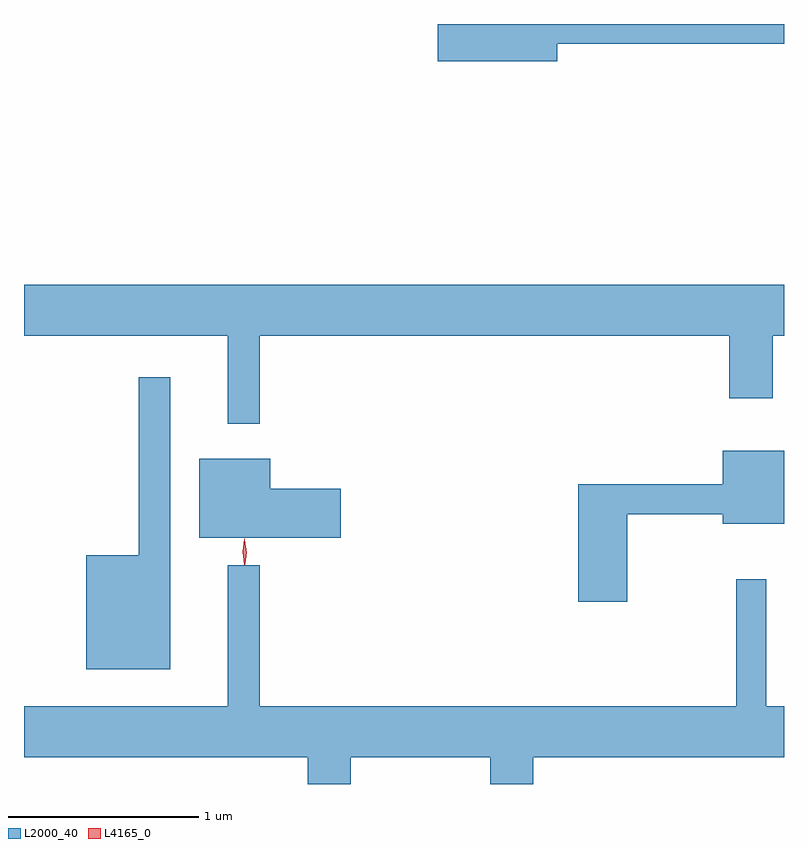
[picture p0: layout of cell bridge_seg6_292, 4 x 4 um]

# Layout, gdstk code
import gdstk
lib = gdstk.Library(unit=1e-6, precision=1e-09)
def P(c, l, *ps):  # polygons
    for p in ps: c.add(gdstk.Polygon(p, *l))
L2000_40 = (2000, 40)
L4165_0 = (4165, 0)

bridge_seg6_292 = lib.new_cell('bridge_seg6_292')
P(bridge_seg6_292, L2000_40, [(1284.454,1536.031),(1285.648,1536.031),(1285.648,1536.136),(1283.826,1536.136),(1283.826,1535.941),(1284.454,1535.941)],
  [(1282.889,1534.496),(1285.361,1534.496),(1285.361,1534.166),(1285.589,1534.166),(1285.589,1534.496),(1285.648,1534.496),(1285.648,1534.764),(1281.648,1534.764),(1281.648,1534.496),(1282.721,1534.496),(1282.721,1534.033),(1282.889,1534.033)],
  [(1282.419,1534.278),(1282.251,1534.278),(1282.251,1533.339),(1281.976,1533.339),(1281.976,1532.741),(1282.419,1532.741)],
  [(1284.824,1533.556),(1285.326,1533.556),(1285.326,1533.506),(1285.648,1533.506),(1285.648,1533.889),(1285.326,1533.889),(1285.326,1533.714),(1284.566,1533.714),(1284.566,1533.096),(1284.824,1533.096)],
  [(1283.314,1533.689),(1282.944,1533.689),(1282.944,1533.849),(1282.571,1533.849),(1282.571,1533.431),(1283.314,1533.431)],
  [(1283.369,1532.276),(1284.101,1532.276),(1284.101,1532.136),(1284.329,1532.136),(1284.329,1532.276),(1285.648,1532.276),(1285.648,1532.544),(1285.554,1532.544),(1285.554,1533.213),(1285.396,1533.213),(1285.396,1532.544),(1282.889,1532.544),(1282.889,1533.288),(1282.721,1533.288),(1282.721,1532.544),(1281.648,1532.544),(1281.648,1532.276),(1283.141,1532.276),(1283.141,1532.136),(1283.369,1532.136)])
P(bridge_seg6_292, L4165_0, [(1282.808,1533.29),(1282.799,1533.358),(1282.808,1533.425),(1282.809,1533.426),(1282.809,1533.425),(1282.819,1533.358),(1282.809,1533.29),(1282.809,1533.29)],
  [(1282.811,1533.293),(1282.811,1533.293),(1282.801,1533.356),(1282.81,1533.419),(1282.811,1533.42),(1282.811,1533.419),(1282.821,1533.356),(1282.812,1533.293)])

lib.write_gds('bridge_seg6_292.gds')
